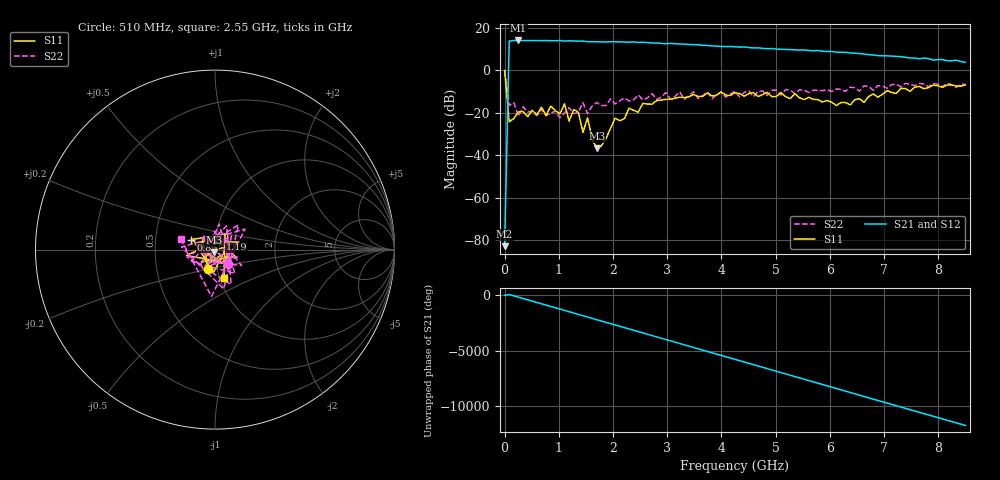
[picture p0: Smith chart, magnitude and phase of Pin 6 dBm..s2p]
! RsaToolbox (C) 2013 Rohde & Schwarz America
! Number of points: 101
! Number of ports: 2
! Balanced ports?: 0
# Hz S RI R 50
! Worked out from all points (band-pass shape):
!   101 points, 9 kHz to 8.5 GHz, reference 50 ohm
!   highest |S21| = 13.96 dB at 255 MHz (marker M1); lowest = -82.7 dB at 9 kHz (marker M2)
!   |S21| within 3 dB of the highest: 82.63 MHz to 4.266 GHz (4.183 GHz wide, 192 % of centre)
!   lowest |S11| = -36.8 dB at 1.7 GHz (marker M3), VSWR 1.03, Z = 49.7 - j1.4 ohm
!   |S11| at or under -10 dB: 34.76 MHz to 7.037 GHz (7.002 GHz wide, 198 % of centre); 7.093 GHz to 7.258 GHz (165.6 MHz wide, 2.31 % of centre)
!   |S22| runs from -22.3 to 0.0 dB; largest |S21 - S12| = 0
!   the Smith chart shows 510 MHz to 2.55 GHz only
!   S11 on the Smith chart (normalised r, x): 510 MHz: 0.90, -0.19; 850 MHz: 0.76, +0.09; 1.19 GHz: 1.05, +0.12; 2.55 GHz: 1.05, -0.34
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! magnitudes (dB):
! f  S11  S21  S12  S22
! 9 kHz  -0.1  -82.7  -82.7  0.0
! 85.01 MHz  -24.3  13.7  13.7  -16.5
! 170 MHz  -22.7  13.9  13.9  -15.2
! 255 MHz  -19.6  14.0  14.0  -21.7
! 510 MHz  -18.9  13.9  13.9  -19.4
! 765 MHz  -21.3  13.9  13.9  -21.3
! 850 MHz  -16.9  13.8  13.8  -20.3
! 1.02 GHz  -20.5  13.9  13.9  -22.3
! 1.105 GHz  -15.8  13.7  13.7  -20.1
! 1.19 GHz  -23.9  13.8  13.8  -17.6
! 1.36 GHz  -19.8  13.6  13.6  -19.8
! 1.445 GHz  -29.3  13.7  13.7  -15.3
! 1.53 GHz  -22.4  13.4  13.4  -20.4
! 1.7 GHz  -36.8  13.3  13.3  -15.2
! 2.04 GHz  -22.6  13.4  13.4  -15.9
! 2.55 GHz  -15.6  13.1  13.1  -13.9
! 2.89 GHz  -14.0  12.6  12.6  -12.6
! 4.25 GHz  -10.6  11.0  11.0  -9.9
! 5.695 GHz  -13.7  9.1  9.1  -9.5
! 6.375 GHz  -16.4  8.1  8.1  -8.0
! 7.14 GHz  -10.5  6.6  6.6  -6.8
! 8.5 GHz  -7.0  3.7  3.7  -6.7
